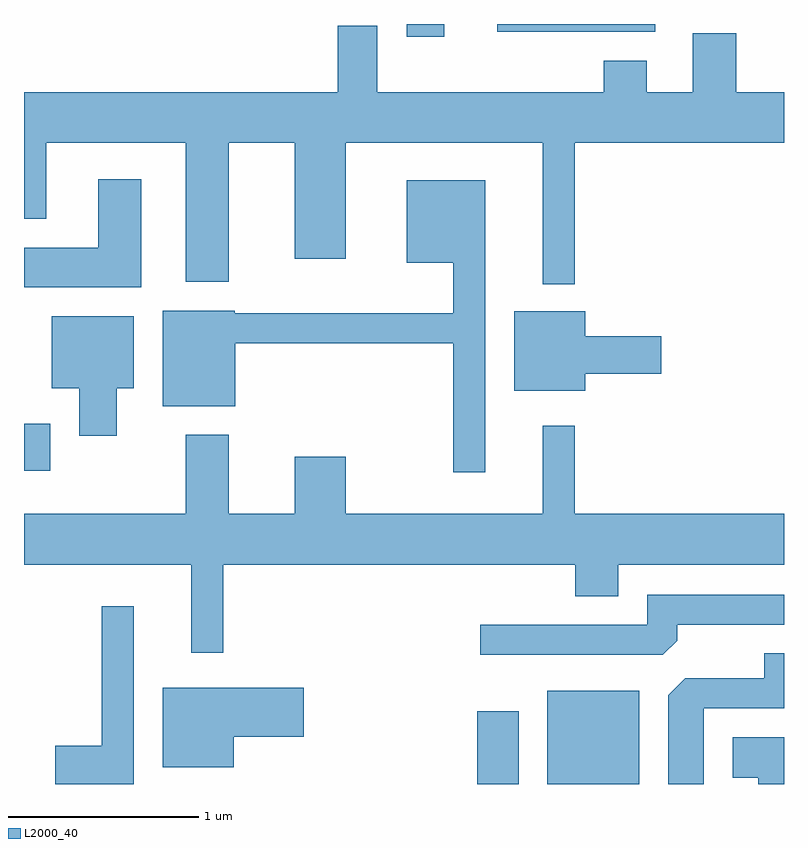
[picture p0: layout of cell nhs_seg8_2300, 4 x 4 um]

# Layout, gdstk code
import gdstk
lib = gdstk.Library(unit=1e-6, precision=1e-09)
def R(c, l, rs):  # rectangles x0, y0, x1, y1
    for r in rs: c.add(gdstk.rectangle(r[:2], r[2:], *l))
def P(c, l, *ps):  # polygons
    for p in ps: c.add(gdstk.Polygon(p, *l))
L2000_40 = (2000, 40)

nhs_seg8_2300 = lib.new_cell('nhs_seg8_2300')
R(nhs_seg8_2300, L2000_40, [(255.996,1866.342,256.214,1866.724), (256.366,1866.342,256.849,1866.834), (253.611,1867.991,253.749,1868.239), (255.626,1870.276,255.824,1870.342), (256.103,1870.301,256.934,1870.342)])
P(nhs_seg8_2300, L2000_40, [(256.509,1869.716),(257.611,1869.716),(257.611,1869.984),(257.359,1869.984),(257.359,1870.294),(257.131,1870.294),(257.131,1869.984),(256.889,1869.984),(256.889,1870.149),(256.661,1870.149),(256.661,1869.984),(255.469,1869.984),(255.469,1870.334),(255.261,1870.334),(255.261,1869.984),(253.611,1869.984),(253.611,1869.316),(253.729,1869.316),(253.729,1869.716),(254.461,1869.716),(254.461,1868.986),(254.689,1868.986),(254.689,1869.716),(255.036,1869.716),(255.036,1869.106),(255.304,1869.106),(255.304,1869.716),(256.341,1869.716),(256.341,1868.973),(256.509,1868.973)],
  [(254.229,1869.524),(254.001,1869.524),(254.001,1869.164),(253.611,1869.164),(253.611,1868.956),(254.229,1868.956)],
  [(256.039,1869.519),(255.626,1869.519),(255.626,1869.086),(255.871,1869.086),(255.871,1868.819),(254.72,1868.819),(254.72,1868.834),(254.341,1868.834),(254.341,1868.331),(254.724,1868.331),(254.724,1868.661),(255.871,1868.661),(255.871,1867.983),(256.039,1867.983)],
  [(256.564,1868.501),(256.964,1868.501),(256.964,1868.699),(256.564,1868.699),(256.564,1868.829),(256.191,1868.829),(256.191,1868.411),(256.564,1868.411)],
  [(254.099,1868.426),(254.189,1868.426),(254.189,1868.804),(253.756,1868.804),(253.756,1868.426),(253.901,1868.426),(253.901,1868.176),(254.099,1868.176)],
  [(254.659,1867.496),(256.511,1867.496),(256.511,1867.331),(256.739,1867.331),(256.739,1867.496),(257.611,1867.496),(257.611,1867.764),(256.509,1867.764),(256.509,1868.228),(256.341,1868.228),(256.341,1867.764),(255.304,1867.764),(255.304,1868.064),(255.036,1868.064),(255.036,1867.764),(254.689,1867.764),(254.689,1868.179),(254.461,1868.179),(254.461,1867.764),(253.611,1867.764),(253.611,1867.496),(254.491,1867.496),(254.491,1867.033),(254.659,1867.033)],
  [(257.049,1867.097),(257.049,1867.181),(257.611,1867.181),(257.611,1867.339),(256.891,1867.339),(256.891,1867.179),(256.013,1867.179),(256.013,1867.021),(256.974,1867.021)],
  [(254.189,1867.278),(254.021,1867.278),(254.021,1866.544),(253.776,1866.544),(253.776,1866.342),(254.189,1866.342)],
  [(257.189,1866.741),(257.611,1866.741),(257.611,1867.029),(257.506,1867.029),(257.506,1866.899),(257.092,1866.899),(257.001,1866.809),(257.001,1866.342),(257.189,1866.342)],
  [(254.714,1866.591),(255.084,1866.591),(255.084,1866.849),(254.341,1866.849),(254.341,1866.431),(254.714,1866.431)],
  [(257.611,1866.589),(257.341,1866.589),(257.341,1866.376),(257.476,1866.376),(257.476,1866.342),(257.611,1866.342)])

lib.write_gds('nhs_seg8_2300.gds')
